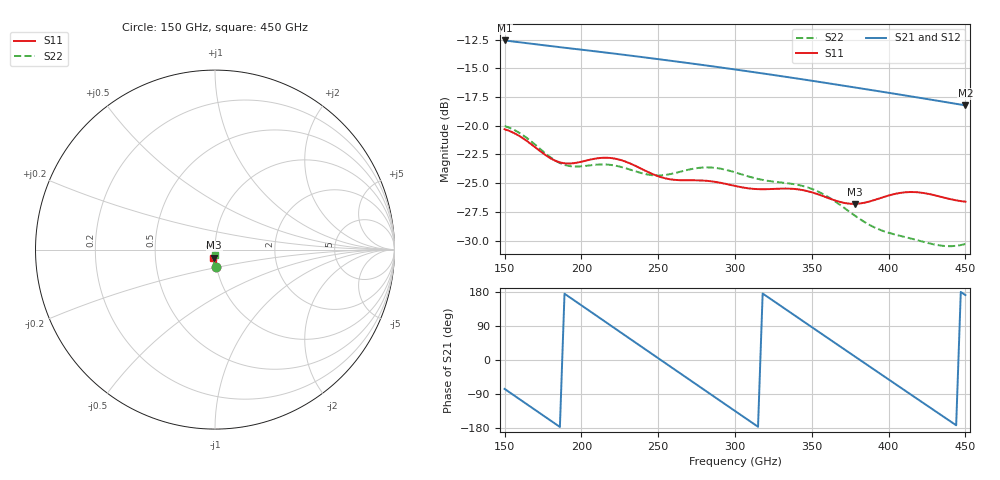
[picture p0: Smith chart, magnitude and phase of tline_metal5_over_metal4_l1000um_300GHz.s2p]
#  GHZ S DB R 50
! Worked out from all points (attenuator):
!   101 points, 150 GHz to 450 GHz, reference 50 ohm
!   highest |S21| = -12.57 dB at 150 GHz (marker M1); lowest = -18.2 dB at 450 GHz (marker M2)
!   lowest |S11| = -26.8 dB at 378 GHz (marker M3), VSWR 1.10, Z = 49.3 - j4.49 ohm
!   |S11| at or under -10 dB: start of sweep to end of sweep
!   |S22| runs from -30.5 to -20.0 dB; largest |S21 - S12| = 2.3e-13
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150  -20.30 -88.1  -12.57 -76.3  -12.57 -76.3  -20.02 -87.3
162  -21.09 -92.5  -12.77 -109.8  -12.77 -109.8  -20.83 -92.5
177  -22.59 -93.3  -13.01 -151.6  -13.01 -151.6  -22.45 -94.6
189  -23.27 -88.9  -13.20 174.9  -13.20 174.9  -23.41 -90.7
201  -23.10 -86.0  -13.39 141.5  -13.39 141.5  -23.52 -86.8
213  -22.80 -88.0  -13.58 108.0  -13.58 108.0  -23.37 -87.0
225  -22.96 -92.5  -13.78 74.5  -13.78 74.5  -23.56 -89.4
240  -23.81 -96.2  -14.03 32.6  -14.03 32.6  -24.16 -90.0
252  -24.49 -95.5  -14.23 -0.9  -14.23 -0.9  -24.32 -88.1
264  -24.74 -93.9  -14.44 -34.3  -14.44 -34.3  -24.02 -87.6
276  -24.76 -93.9  -14.66 -67.7  -14.66 -67.7  -23.68 -90.5
288  -24.91 -95.4  -14.87 -101.1  -14.87 -101.1  -23.68 -95.3
300  -25.24 -96.2  -15.10 -134.5  -15.10 -134.5  -24.06 -99.6
312  -25.50 -95.7  -15.33 -167.9  -15.33 -167.9  -24.53 -102.0
324  -25.51 -95.4  -15.56 158.8  -15.56 158.8  -24.85 -103.6
339  -25.51 -97.5  -15.86 117.2  -15.86 117.2  -25.10 -107.2
351  -25.83 -99.7  -16.10 84.0  -16.10 84.0  -25.55 -111.6
378  -26.80 -96.1  -16.66 9.4  -16.66 9.4  -27.82 -116.4
402  -26.00 -93.9  -17.17 -56.8  -17.17 -56.8  -29.40 -109.6
423  -25.86 -99.5  -17.63 -114.6  -17.63 -114.6  -30.12 -103.5
438  -26.32 -101.7  -17.96 -155.7  -17.96 -155.7  -30.49 -97.0
450  -26.61 -101.2  -18.23 171.3  -18.23 171.3  -30.30 -91.0
